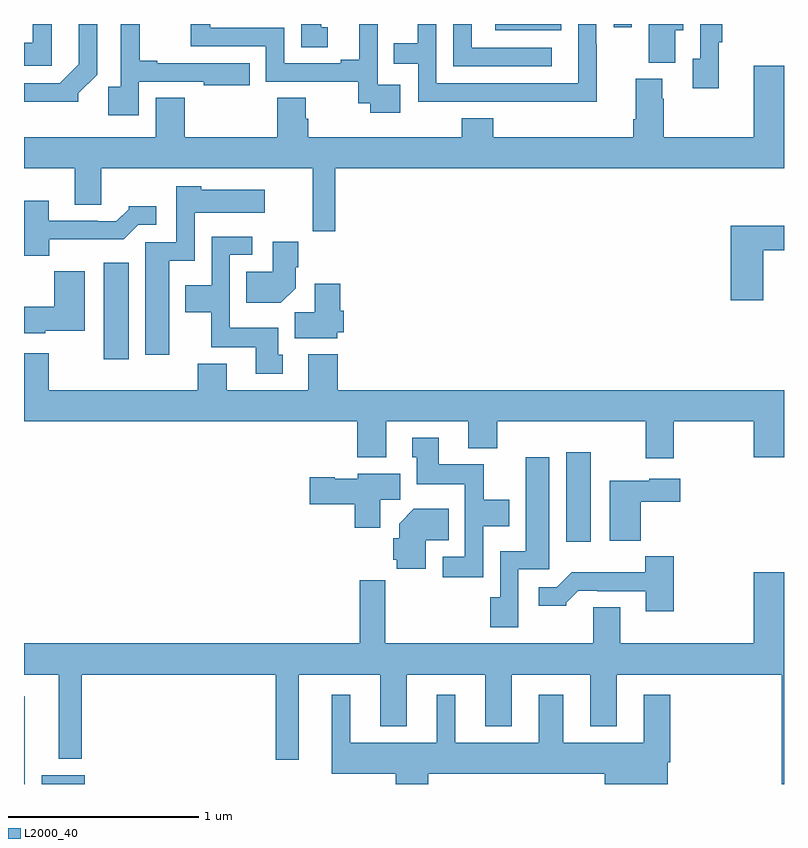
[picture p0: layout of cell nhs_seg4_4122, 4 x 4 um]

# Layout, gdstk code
import gdstk
lib = gdstk.Library(unit=1e-6, precision=1e-09)
def R(c, l, rs):  # rectangles x0, y0, x1, y1
    for r in rs: c.add(gdstk.rectangle(r[:2], r[2:], *l))
def P(c, l, *ps):  # polygons
    for p in ps: c.add(gdstk.Polygon(p, *l))
L2000_40 = (2000, 40)

nhs_seg4_4122 = lib.new_cell('nhs_seg4_4122')
R(nhs_seg4_4122, L2000_40, [(329,806.9,329.005,807.361), (329.093,806.9,329.32,806.947), (331.853,808.176,331.984,808.645), (329.42,809.136,329.551,809.644), (331.479,810.866,331.828,810.9), (332.103,810.882,332.199,810.9)])
P(nhs_seg4_4122, L2000_40, [(330.979,810.579),(330.861,810.579),(330.861,810.883),(330.863,810.883),(330.863,810.9),(330.764,810.9),(330.764,810.713),(330.668,810.713),(330.668,810.693),(330.369,810.693),(330.369,810.879),(329.979,810.879),(329.979,810.9),(329.878,810.9),(329.878,810.783),(330.273,810.783),(330.273,810.597),(330.76,810.597),(330.76,810.483),(330.823,810.483),(330.823,810.432),(330.979,810.432)],
  [(332.015,810.794),(332.013,810.794),(332.013,810.9),(331.917,810.9),(331.917,810.588),(331.17,810.588),(331.17,810.9),(331.073,810.9),(331.073,810.799),(330.946,810.799),(330.946,810.69),(331.074,810.69),(331.074,810.492),(331.552,810.492),(331.552,810.491),(332.015,810.491)],
  [(329.604,810.597),(329.945,810.597),(329.945,810.578),(330.188,810.578),(330.188,810.693),(329.701,810.693),(329.701,810.706),(329.609,810.706),(329.609,810.9),(329.508,810.9),(329.508,810.571),(329.443,810.571),(329.443,810.42),(329.604,810.42)],
  [(330.598,810.882),(330.565,810.882),(330.565,810.9),(330.458,810.9),(330.458,810.778),(330.598,810.778)],
  [(331.777,810.774),(331.356,810.774),(331.356,810.9),(331.26,810.9),(331.26,810.678),(331.777,810.678)],
  [(332.428,810.866),(332.47,810.866),(332.47,810.9),(332.288,810.9),(332.288,810.697),(332.428,810.697)],
  [(329.286,810.535),(329.385,810.634),(329.385,810.9),(329.288,810.9),(329.288,810.689),(329.187,810.588),(329,810.588),(329,810.491),(329.286,810.491)],
  [(329.146,810.9),(329.047,810.9),(329.047,810.801),(329,810.801),(329,810.681),(329.146,810.681)],
  [(332.657,810.805),(332.675,810.805),(332.675,810.9),(332.559,810.9),(332.559,810.717),(332.519,810.717),(332.519,810.561),(332.657,810.561)],
  [(330.638,810.14),(333,810.14),(333,810.679),(332.84,810.679),(332.84,810.304),(332.367,810.304),(332.367,810.506),(332.359,810.506),(332.359,810.612),(332.219,810.612),(332.219,810.4),(332.207,810.4),(332.207,810.304),(331.469,810.304),(331.469,810.403),(331.304,810.403),(331.304,810.304),(330.497,810.304),(330.497,810.402),(330.484,810.402),(330.484,810.512),(330.332,810.512),(330.332,810.304),(329.846,810.304),(329.846,810.512),(329.693,810.512),(329.693,810.304),(329,810.304),(329,810.14),(329.267,810.14),(329.267,809.95),(329.407,809.95),(329.407,810.14),(330.52,810.14),(330.52,809.808),(330.638,809.808)],
  [(329.764,809.654),(329.898,809.654),(329.898,809.906),(330.268,809.906),(330.268,810.028),(329.934,810.028),(329.934,810.046),(329.802,810.046),(329.802,809.751),(329.639,809.751),(329.639,809.16),(329.764,809.16)],
  [(329.134,809.768),(329.525,809.768),(329.601,809.844),(329.695,809.844),(329.695,809.941),(329.55,809.941),(329.55,809.926),(329.486,809.862),(329.387,809.862),(329.387,809.865),(329.131,809.865),(329.131,809.971),(329,809.971),(329,809.681),(329.134,809.681)],
  [(332.89,809.71),(333,809.71),(333,809.839),(332.72,809.839),(332.72,809.445),(332.89,809.445)],
  [(330.361,809.16),(330.337,809.16),(330.337,809.302),(330.084,809.302),(330.084,809.685),(330.202,809.685),(330.202,809.781),(329.988,809.781),(329.988,809.524),(329.849,809.524),(329.849,809.384),(329.986,809.384),(329.986,809.198),(330.221,809.198),(330.221,809.058),(330.361,809.058)],
  [(330.43,809.51),(330.43,809.62),(330.443,809.62),(330.443,809.755),(330.308,809.755),(330.308,809.596),(330.169,809.596),(330.169,809.432),(330.352,809.432)],
  [(329.112,809.285),(329.32,809.285),(329.32,809.599),(329.158,809.599),(329.158,809.413),(329,809.413),(329,809.273),(329.112,809.273)],
  [(330.648,809.277),(330.683,809.277),(330.683,809.391),(330.665,809.391),(330.665,809.533),(330.53,809.533),(330.53,809.384),(330.425,809.384),(330.425,809.246),(330.648,809.246)],
  [(332.421,808.808),(332.84,808.808),(332.84,808.62),(333,808.62),(333,808.972),(330.65,808.972),(330.65,809.161),(330.497,809.161),(330.497,808.972),(330.067,808.972),(330.067,809.113),(329.915,809.113),(329.915,808.972),(329.131,808.972),(329.131,809.167),(329,809.167),(329,808.808),(330.755,808.808),(330.755,808.619),(330.907,808.619),(330.907,808.808),(331.337,808.808),(331.337,808.667),(331.49,808.667),(331.49,808.808),(332.273,808.808),(332.273,808.614),(332.421,808.614)],
  [(331.416,808.256),(331.555,808.256),(331.555,808.396),(331.419,808.396),(331.419,808.582),(331.183,808.582),(331.183,808.723),(331.043,808.723),(331.043,808.62),(331.067,808.62),(331.067,808.478),(331.32,808.478),(331.32,808.095),(331.203,808.095),(331.203,807.987),(331.416,807.987)],
  [(331.602,808.029),(331.765,808.029),(331.765,808.621),(331.64,808.621),(331.64,808.126),(331.506,808.126),(331.506,807.882),(331.454,807.882),(331.454,807.726),(331.602,807.726)],
  [(330.874,808.396),(330.979,808.396),(330.979,808.534),(330.756,808.534),(330.756,808.507),(330.636,808.507),(330.636,808.515),(330.504,808.515),(330.504,808.373),(330.74,808.373),(330.74,808.248),(330.874,808.248)],
  [(332.246,808.385),(332.455,808.385),(332.455,808.507),(332.292,808.507),(332.292,808.495),(332.084,808.495),(332.084,808.181),(332.246,808.181)],
  [(331.114,808.184),(331.235,808.184),(331.235,808.348),(331.052,808.348),(330.974,808.27),(330.974,808.194),(330.944,808.194),(330.944,808.08),(330.962,808.08),(330.962,808.034),(331.114,808.034)],
  [(332.421,808.099),(332.271,808.099),(332.271,808.015),(331.882,808.015),(331.803,807.936),(331.71,807.936),(331.71,807.839),(331.854,807.839),(331.854,807.854),(331.918,807.918),(332.017,807.918),(332.017,807.915),(332.273,807.915),(332.273,807.81),(332.421,807.81)],
  [(333,808.015),(332.84,808.015),(332.84,807.64),(332.137,807.64),(332.137,807.83),(331.997,807.83),(331.997,807.64),(330.902,807.64),(330.902,807.973),(330.766,807.973),(330.766,807.64),(329,807.64),(329,807.476),(329.183,807.476),(329.183,807.032),(329.305,807.032),(329.305,807.476),(330.324,807.476),(330.324,807.027),(330.445,807.027),(330.445,807.476),(330.875,807.476),(330.875,807.203),(331.015,807.203),(331.015,807.476),(331.427,807.476),(331.427,807.203),(331.567,807.203),(331.567,807.476),(331.979,807.476),(331.979,807.203),(332.119,807.203),(332.119,807.476),(332.987,807.476),(332.987,806.9),(333,806.9)],
  [(331.127,806.954),(332.057,806.954),(332.057,806.9),(332.389,806.9),(332.389,807.014),(332.402,807.014),(332.402,807.37),(332.261,807.37),(332.261,807.118),(331.837,807.118),(331.837,807.37),(331.709,807.37),(331.709,807.118),(331.27,807.118),(331.27,807.37),(331.172,807.37),(331.172,807.118),(330.718,807.118),(330.718,807.37),(330.62,807.37),(330.62,806.954),(330.956,806.954),(330.956,806.9),(331.127,806.9)])

lib.write_gds('nhs_seg4_4122.gds')
